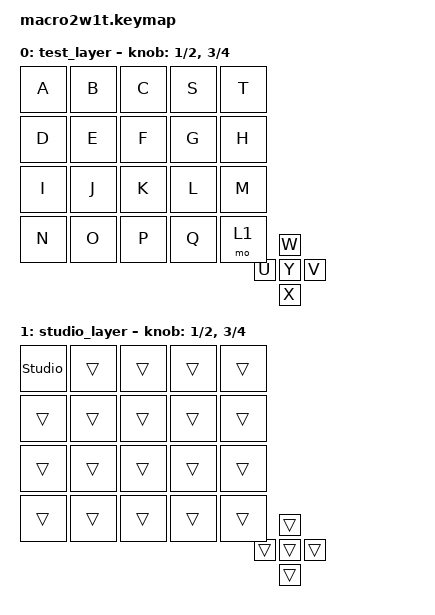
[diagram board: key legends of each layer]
#include <behaviors.dtsi>
#include <dt-bindings/zmk/keys.h>
#include <dt-bindings/zmk/bt.h>
#include <dt-bindings/zmk/outputs.h>

/ {
    keymap {
        compatible = "zmk,keymap";

        /*
         * TEST LAYER
         * Every position types a different letter so you can prove each
         * switch, both wheel presses and all five nav directions work:
         *
         *   top row, keys 1-3    A B C
         *   left wheel press     S
         *   right wheel press    T
         *   2nd row              D E F G H
         *   3rd row              I J K L M
         *   4th row              N O P Q  (5th is the Studio layer key)
         *   5-way l/r/u/d/press  U V W X Y
         *   left wheel turn      1 / 2
         *   right wheel turn     3 / 4
         *
         * The bottom-right key (where R used to be) now holds the Studio
         * layer: hold it and press the top-left key to unlock Studio.
         */
        test_layer {
            bindings = <
                &kp A  &kp B  &kp C  &kp S  &kp T     &kp U
                &kp D  &kp E  &kp F  &kp G  &kp H     &kp V
                &kp I  &kp J  &kp K  &kp L  &kp M     &kp W
                &kp N  &kp O  &kp P  &kp Q  &mo 1     &kp X
                                                      &kp Y
            >;

            sensor-bindings = <&inc_dec_kp N1 N2 &inc_dec_kp N3 N4>;
        };

        /*
         * STUDIO LAYER
         * Only one live key: top-left unlocks ZMK Studio for editing.
         * Everything else falls through to the layer below.
         */
        studio_layer {
            bindings = <
                &studio_unlock  &trans  &trans  &trans  &trans    &trans
                &trans          &trans  &trans  &trans  &trans    &trans
                &trans          &trans  &trans  &trans  &trans    &trans
                &trans          &trans  &trans  &trans  &trans    &trans
                                                                  &trans
            >;

            sensor-bindings = <&inc_dec_kp N1 N2 &inc_dec_kp N3 N4>;
        };
    };
};
